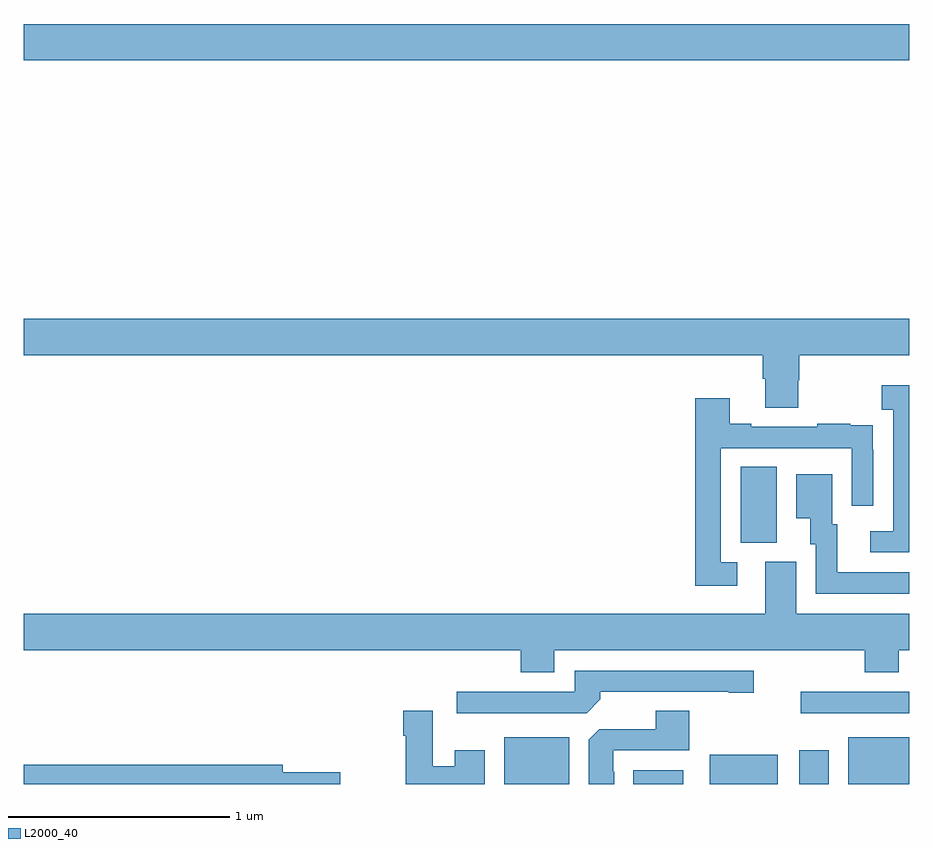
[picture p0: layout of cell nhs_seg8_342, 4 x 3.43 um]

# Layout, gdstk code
import gdstk
lib = gdstk.Library(unit=1e-6, precision=1e-09)
def R(c, l, rs):  # rectangles x0, y0, x1, y1
    for r in rs: c.add(gdstk.rectangle(r[:2], r[2:], *l))
def P(c, l, *ps):  # polygons
    for p in ps: c.add(gdstk.Polygon(p, *l))
L2000_40 = (2000, 40)

nhs_seg8_342 = lib.new_cell('nhs_seg8_342')
R(nhs_seg8_342, L2000_40, [(135.17,1111.9,135.463,1112.11), (135.752,1111.9,135.979,1111.963), (136.098,1111.9,136.405,1112.032), (136.502,1111.9,136.636,1112.053), (136.724,1111.9,137,1112.11), (136.509,1112.22,137,1112.316), (136.238,1112.989,136.402,1113.332), (133,1115.168,137,1115.332)])
P(nhs_seg8_342, L2000_40, [(136.497,1113.723),(136.502,1113.723),(136.502,1113.836),(137,1113.836),(137,1114),(133,1114),(133,1113.836),(136.337,1113.836),(136.337,1113.73),(136.349,1113.73),(136.349,1113.598),(136.497,1113.598)],
  [(137,1113.7),(136.875,1113.7),(136.875,1113.59),(136.926,1113.59),(136.926,1113.042),(136.824,1113.042),(136.824,1112.946),(137,1112.946)],
  [(136.222,1112.901),(136.149,1112.901),(136.149,1113.417),(136.74,1113.417),(136.74,1113.156),(136.836,1113.156),(136.836,1113.41),(136.835,1113.41),(136.835,1113.519),(136.733,1113.519),(136.733,1113.526),(136.585,1113.526),(136.585,1113.513),(136.285,1113.513),(136.285,1113.526),(136.189,1113.526),(136.189,1113.643),(136.033,1113.643),(136.033,1112.796),(136.222,1112.796)],
  [(137,1112.856),(136.675,1112.856),(136.675,1113.072),(136.651,1113.072),(136.651,1113.298),(136.49,1113.298),(136.49,1113.101),(136.553,1113.101),(136.553,1112.982),(136.578,1112.982),(136.578,1112.76),(137,1112.76)],
  [(135.397,1112.504),(136.799,1112.504),(136.799,1112.405),(136.951,1112.405),(136.951,1112.504),(137,1112.504),(137,1112.668),(136.489,1112.668),(136.489,1112.904),(136.349,1112.904),(136.349,1112.668),(133,1112.668),(133,1112.504),(135.245,1112.504),(135.245,1112.405),(135.397,1112.405)],
  [(135.605,1112.282),(135.605,1112.316),(136.184,1112.316),(136.184,1112.311),(136.297,1112.311),(136.297,1112.412),(135.489,1112.412),(135.489,1112.316),(134.955,1112.316),(134.955,1112.22),(135.543,1112.22)],
  [(135.667,1111.955),(135.663,1111.955),(135.663,1112.052),(136.007,1112.052),(136.007,1112.231),(135.854,1112.231),(135.854,1112.148),(135.6,1112.148),(135.551,1112.099),(135.551,1111.9),(135.667,1111.9)],
  [(135.082,1112.053),(134.948,1112.053),(134.948,1111.981),(134.848,1111.981),(134.848,1112.23),(134.714,1112.23),(134.714,1112.117),(134.726,1112.117),(134.726,1111.9),(135.082,1111.9)],
  [(134.431,1111.952),(134.17,1111.952),(134.17,1111.988),(133,1111.988),(133,1111.9),(134.431,1111.9)])

lib.write_gds('nhs_seg8_342.gds')
